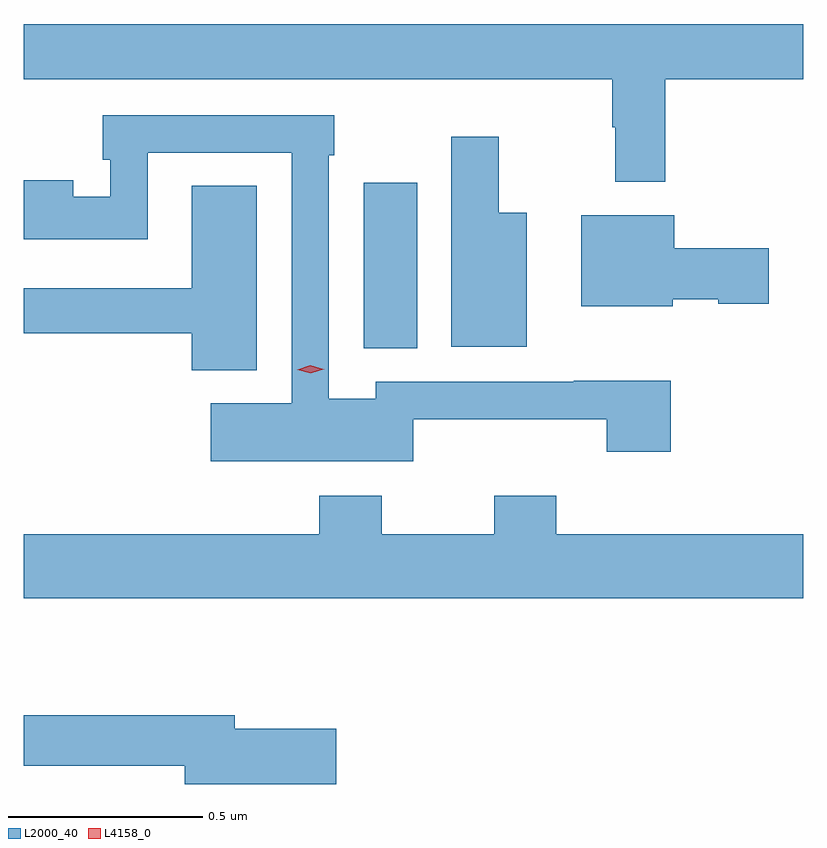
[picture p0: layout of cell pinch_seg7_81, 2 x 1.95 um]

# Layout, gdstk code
import gdstk
lib = gdstk.Library(unit=1e-6, precision=1e-09)
def R(c, l, rs):  # rectangles x0, y0, x1, y1
    for r in rs: c.add(gdstk.rectangle(r[:2], r[2:], *l))
def P(c, l, *ps):  # polygons
    for p in ps: c.add(gdstk.Polygon(p, *l))
L2000_40 = (2000, 40)
L4158_0 = (4158, 0)

pinch_seg7_81 = lib.new_cell('pinch_seg7_81')
R(pinch_seg7_81, L2000_40, [(922.157,1057.201,922.294,1057.627)])
P(pinch_seg7_81, L2000_40, [(922.931,1057.892),(923.285,1057.892),(923.285,1058.034),(921.285,1058.034),(921.285,1057.892),(922.795,1057.892),(922.795,1057.769),(922.803,1057.769),(922.803,1057.629),(922.931,1057.629)],
  [(922.284,1057.019),(922.781,1057.019),(922.781,1056.936),(922.946,1056.936),(922.946,1057.118),(922.697,1057.118),(922.697,1057.116),(922.188,1057.116),(922.188,1057.072),(922.068,1057.072),(922.068,1057.697),(922.081,1057.697),(922.081,1057.8),(921.487,1057.8),(921.487,1057.686),(921.507,1057.686),(921.507,1057.591),(921.412,1057.591),(921.412,1057.633),(921.285,1057.633),(921.285,1057.482),(921.603,1057.482),(921.603,1057.704),(921.972,1057.704),(921.972,1057.06),(921.765,1057.06),(921.765,1056.911),(922.284,1056.911)],
  [(922.576,1057.549),(922.504,1057.549),(922.504,1057.744),(922.382,1057.744),(922.382,1057.205),(922.576,1057.205)],
  [(921.883,1057.619),(921.716,1057.619),(921.716,1057.356),(921.285,1057.356),(921.285,1057.24),(921.716,1057.24),(921.716,1057.145),(921.883,1057.145)],
  [(922.95,1057.328),(923.067,1057.328),(923.067,1057.316),(923.197,1057.316),(923.197,1057.458),(922.954,1057.458),(922.954,1057.543),(922.715,1057.543),(922.715,1057.31),(922.95,1057.31)],
  [(923.285,1056.724),(922.652,1056.724),(922.652,1056.823),(922.492,1056.823),(922.492,1056.724),(922.203,1056.724),(922.203,1056.823),(922.043,1056.823),(922.043,1056.724),(921.285,1056.724),(921.285,1056.56),(923.285,1056.56)],
  [(922.087,1056.225),(921.826,1056.225),(921.826,1056.259),(921.285,1056.259),(921.285,1056.13),(921.698,1056.13),(921.698,1056.083),(922.087,1056.083)])
P(pinch_seg7_81, L4158_0, [(922.021,1057.138),(921.986,1057.147),(921.986,1057.147),(921.986,1057.147),(922.02,1057.158),(922.055,1057.148),(922.056,1057.148),(922.055,1057.148)])

lib.write_gds('pinch_seg7_81.gds')
